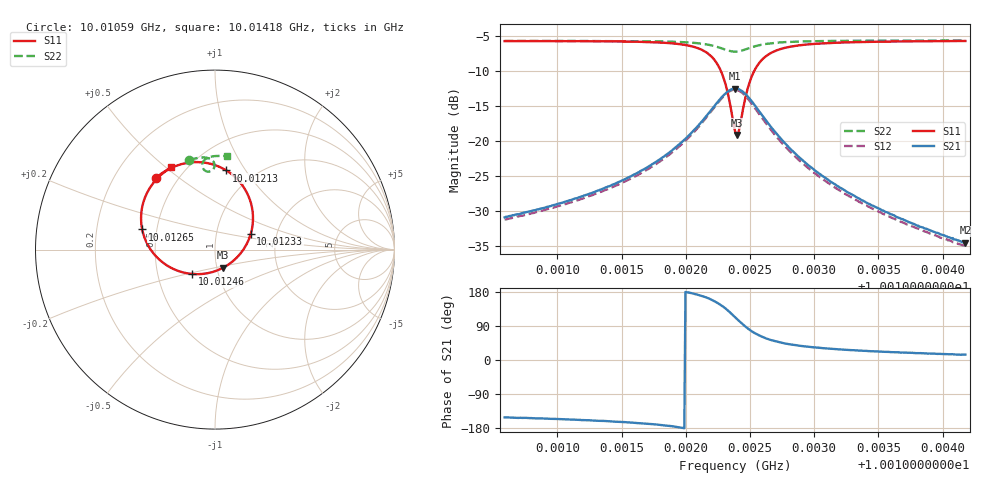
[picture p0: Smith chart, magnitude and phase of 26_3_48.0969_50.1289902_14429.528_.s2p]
#  HZ  S  RI  R  50.00
! Rohde & Schwarz Vector Network Analyzer
! Rohde-Schwarz,ZNB20-2Port,1311601062101988,3.16
! Created: UTC 12/23/2023, 3:37:12 AM
! freq[Hz]  re:S11  im:S11  re:S21  im:S21  re:S12  im:S12  re:S22  im:S22
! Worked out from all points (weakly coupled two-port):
!   401 points, 10.01059 GHz to 10.01418 GHz, reference 50 ohm
!   highest |S21| = -12.48 dB at 10.01238 GHz (marker M1); lowest = -34.5 dB at 10.01418 GHz (marker M2)
!   lowest |S11| = -19.1 dB at 10.0124 GHz (marker M3), VSWR 1.25, Z = 53.5 - j11 ohm
!   |S11| at or under -10 dB: 10.01227 GHz to 10.01253 GHz (258.6 kHz wide, 0.00258 % of centre)
!   |S22| runs from -7.2 to -5.6 dB; largest |S21 - S12| = 0.011
!   S11 on the Smith chart (normalised r, x): 10.01059 GHz: 0.38, +0.42; 10.01213 GHz: 0.75, +0.82; 10.01233 GHz: 1.47, +0.26; 10.01246 GHz: 0.75, -0.21; 10.01265 GHz: 0.41, +0.11; 10.01418 GHz: 0.42, +0.52
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1.0010589e10  -0.3282 0.4012  -0.025 -0.0137  -0.0234 -0.0145  -0.1441 0.4993
1.001119e10  -0.2709 0.4413  -0.0375 -0.0146  -0.0352 -0.016  -0.103 0.5093
1.0011513e10  -0.2218 0.4647  -0.0505 -0.0149  -0.0481 -0.0167  -0.0785 0.5127
1.0011791e10  -0.1503 0.4841  -0.0725 -0.0115  -0.0694 -0.0149  -0.0536 0.5129
1.001198e10  -0.0621 0.485  -0.1004 -0.000897  -0.0971 -0.00634  -0.033 0.5083
1.0012132e10  0.0629 0.4412  -0.1376 0.0288  -0.1355 0.0202  -0.0132 0.4955
1.0012195e10  0.1314 0.384  -0.1555 0.0569  -0.1545 0.0474  -0.0056 0.4843
1.0012249e10  0.1864 0.2981  -0.1653 0.0944  -0.1671 0.0842  -0.00239 0.47
1.0012294e10  0.2114 0.1891  -0.1628 0.1362  -0.1655 0.1274  -0.00514 0.4555
1.001233e10  0.1985 0.0848  -0.1467 0.1733  -0.1509 0.165  -0.013 0.4441
1.0012383e10  0.0979 -0.0661  -0.0932 0.2185  -0.0982 0.2113  -0.0335 0.4346
1.0012401e10  0.045 -0.1012  -0.0704 0.2259  -0.0754 0.2188  -0.0415 0.4347
1.0012419e10  -0.0121 -0.1246  -0.0478 0.2285  -0.0523 0.2216  -0.0491 0.4366
1.0012455e10  -0.1277 -0.1358  -0.00373 0.2213  -0.00837 0.2146  -0.0613 0.4448
1.0012491e10  -0.2286 -0.1093  0.0316 0.2019  0.0254 0.1956  -0.0685 0.4558
1.0012536e10  -0.3174 -0.049  0.0586 0.1713  0.0513 0.1661  -0.0712 0.4696
1.0012652e10  -0.4056 0.1121  0.0768 0.1051  0.0698 0.1024  -0.0626 0.495
1.0012796e10  -0.4062 0.2349  0.0678 0.0616  0.062 0.0611  -0.0456 0.509
1.0012984e10  -0.3774 0.3184  0.0533 0.0356  0.049 0.0361  -0.026 0.5167
1.0013272e10  -0.3352 0.3816  0.0382 0.019  0.0352 0.0198  -0.000993 0.521
1.0013586e10  -0.2982 0.419  0.0283 0.011  0.0263 0.0118  0.0232 0.522
1.0014178e10  -0.243 0.4592  0.0182 0.00459  0.017 0.00525  0.0646 0.5199
